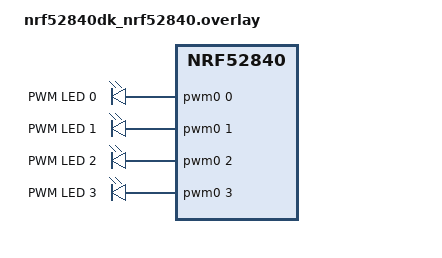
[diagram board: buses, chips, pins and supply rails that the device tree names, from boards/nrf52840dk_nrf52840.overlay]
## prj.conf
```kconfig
# Copyright (c) 2021 Nordic Semiconductor ASA
# SPDX-License-Identifier: Apache-2.0
#
# This file contains selected Kconfig options for the application.

CONFIG_GPIO=y
CONFIG_PWM=y
CONFIG_SMF=y

CONFIG_BT=y
CONFIG_BT_PERIPHERAL=y
CONFIG_BT_DEVICE_NAME="2012 EiE BLE Peripheral"
```

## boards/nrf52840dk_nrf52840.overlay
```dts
/ {
    pwmleds {
        compatible = "pwm-leds";
        pwm_led0: pwm_led_0 { pwms = <&pwm0 0 PWM_MSEC(20) PWM_POLARITY_NORMAL>; label = "PWM LED 0"; };
        pwm_led1: pwm_led_1 { pwms = <&pwm0 1 PWM_MSEC(20) PWM_POLARITY_NORMAL>; label = "PWM LED 1"; };
        pwm_led2: pwm_led_2 { pwms = <&pwm0 2 PWM_MSEC(20) PWM_POLARITY_NORMAL>; label = "PWM LED 2"; };
        pwm_led3: pwm_led_3 { pwms = <&pwm0 3 PWM_MSEC(20) PWM_POLARITY_NORMAL>; label = "PWM LED 3"; };
    };

    aliases {
    pwm-led0 = &pwm_led0;
    pwm-led1 = &pwm_led1;
    pwm-led2 = &pwm_led2;
    pwm-led3 = &pwm_led3;
    };

};

&pinctrl {
    pwm0_default: pwm0_default {
        group1 {
            psels =
                <NRF_PSEL(PWM_OUT0, 0, 4)>,
                <NRF_PSEL(PWM_OUT1, 0, 5)>,
                <NRF_PSEL(PWM_OUT2, 0, 6)>,
                <NRF_PSEL(PWM_OUT3, 0, 7)>;
            nordic,invert;
        };
    };

    pwm0_sleep: pwm0_sleep {
        group1 {
            psels =
                <NRF_PSEL(PWM_OUT0, 0, 4)>,
                <NRF_PSEL(PWM_OUT1, 0, 5)>,
                <NRF_PSEL(PWM_OUT2, 0, 6)>,
                <NRF_PSEL(PWM_OUT3, 0, 7)>;
            low-power-enable;
        };
    };
};
```

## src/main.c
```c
#include <zephyr/kernel.h>
#include <zephyr/device.h>
#include <zephyr/drivers/display.h>
#include <zephyr/sys/printk.h>
#include <lvgl.h>

int main(void)
{
    const struct device *display_dev = DEVICE_DT_GET(DT_CHOSEN(zephyr_display));
    if (!device_is_ready(display_dev)) {
        printk("display not ready\n");
        while (1) { k_msleep(1000); }
    }

    lv_obj_t *scr = lv_screen_active();
    lv_obj_set_style_bg_color(scr, lv_color_hex(0xFF0000), LV_PART_MAIN);

    lv_obj_t *label = lv_label_create(scr);
    lv_label_set_text(label, "EQ FORCE 777");
    lv_obj_set_style_text_color(label, lv_color_black(), LV_PART_MAIN);
    lv_obj_center(label);

    lv_timer_handler();              /* render one frame first */
    display_blanking_off(display_dev);

    while (1) {
        lv_timer_handler();
        k_msleep(10);
    }
}
```

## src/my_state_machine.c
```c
#include <zephyr/smf.h>

#include "LED.h"
#include "my_state_machine.h"
#include "BTN.h"

/* ---------- helpers ---------- */
static inline bool b0(void){ return BTN_check_clear_pressed(BTN0); }
static inline bool b1(void){ return BTN_check_clear_pressed(BTN1); }
static inline bool b2(void){ return BTN_check_clear_pressed(BTN2); }
static inline bool b3(void){ return BTN_check_clear_pressed(BTN3); }

/* ---------- ASCII CODE FUNCTIONS ---------- */
/* 
 * Adds a bit to the ASCII accumulator.
 * bit = 0 → BTN0
 * bit = 1 → BTN1
 * Gives LED feedback.
 */
 //Global Variables
static uint8_t ascii_code = 0;   // stores the 8-bit ASCII being built
static uint8_t bit_index = 0;    // how many bits have been entered (0–7)
#define MAX_STRING_LEN 32    // you can change this
static char ascii_string[MAX_STRING_LEN + 1];   // +1 for null terminator
static uint8_t ascii_string_len = 0;

 
static void ascii_add_bit(uint8_t bit)
{
    if (bit_index < 8) {

        // Shift left to make room
        ascii_code <<= 1;

        // Insert the bit
        ascii_code |= (bit & 0x01);

        bit_index++;

        /* ---- LED feedback ----- */
        if (bit == 0) {
            LED_set(LED0, LED_ON);
            LED_set(LED1, LED_OFF);
        } else {
            LED_set(LED1, LED_ON);
            LED_set(LED0, LED_OFF);
        }

    } else {
        // Already have 8 bits → blink both LEDs quickly
        LED_set(LED0, LED_ON);
        LED_set(LED1, LED_ON);
        // You can optionally ignore new bits or wrap, up to you
    }
}

static void ascii_clear(void)
{
    ascii_code = 0;
    bit_index  = 0;

    LED_set(LED0, LED_OFF);
    LED_set(LED1, LED_OFF);
}

static void ascii_save_code(void)
{
    // Only save if we actually have 8 bits
    if (bit_index == 8) {

        // Convert the 8-bit value into an ASCII character
        char c = (char)ascii_code;

        // Store character into buffer if space available
        if (ascii_string_len < MAX_STRING_LEN) {
            ascii_string[ascii_string_len++] = c;
            ascii_string[ascii_string_len]   = '\0';   // maintain null termination
        }

        // Clear out for next ASCII entry
        ascii_clear();
    }
    else {
        // Optional: blink LEDs to indicate "not complete"
        LED_set(LED0, LED_ON);
        LED_set(LED1, LED_ON);
        // You could also choose to ignore this case
    }
}

static void ascii_string_clear(void)
{
    ascii_string_len = 0;     // no characters stored
    ascii_string[0]  = '\0';  // empty string
}

/* ---- PWM breathing parameters ---- */
#define PULSE_STEP       2      // change per update (brightness smoothness)
#define PULSE_MAX        100    // full brightness (0–100%)
#define PULSE_MIN        0      // off brightness
#define PULSE_UPDATE_MS  10     // speed of pulsing (lower = faster)

/* ---- Breathing state ---- */
static uint8_t pulse_brightness = 0;
static bool pulse_rising = true;
static uint16_t pulse_count = 0;

/* ---- Call this frequently (every run cycle) ---- */
static void pulse_all_leds(void)
{
    // Delay between each brightness change
    if (++pulse_count < PULSE_UPDATE_MS) {
        return;
    }
    pulse_count = 0;

    // Increase or decrease brightness
    if (pulse_rising) {
        if (pulse_brightness < PULSE_MAX) {
            pulse_brightness += PULSE_STEP;
        } else {
            pulse_rising = false;   // reached max → start falling
        }
    } 
    else { // falling
        if (pulse_brightness > PULSE_MIN) {
            pulse_brightness -= PULSE_STEP;
        } else {
            pulse_rising = true;    // reached min → start rising
        }
    }

    // Apply brightness to all 4 LEDs
    LED_pwm(LED0, pulse_brightness);
    LED_pwm(LED1, pulse_brightness);
    LED_pwm(LED2, pulse_brightness);
    LED_pwm(LED3, pulse_brightness);
}

/* ---------- timing ---------- */
#define TOGGLE4_MS    125   // 4 cycles/sec -> toggle every 125 ms
#define TOGGLE16_MS    31   // ~16 cycles/sec -> toggle every ~31 ms
#define TOGGLE1_MS     500 // 1 cycle/sec

/* ---------- prototypes ---------- */

static void state0_entry(void *o);
static enum smf_state_result state0_run (void *o);
static void state0_exit(void *o);

static void state1_entry(void *o);
static enum smf_state_result state1_run (void *o);
static void state1_exit(void *o);

static void state2_entry(void *o);
static enum smf_state_result state2_run (void *o);
static void state2_exit(void *o);

static void state3_entry(void *o);
static enum smf_state_result state3_run (void *o);
static void state3_exit(void *o);

/* ---------- types ---------- */
enum led_state_machine_states{ 
    State_0,        // LED3 blink @ 1 Hz
    State_1,        // LED3 blink @ 4HZ
    State_2,        // LED3 blink @ 16HZ
    State_3         // LEDS Pulse
};

typedef struct {
    struct smf_ctx ctx;  // must be first
    uint16_t count;      // ms-ish counter used per state
    bool phase;          // general toggle phase
    uint8_t previous_state;   // NEW: remember where standby should return
} led_state_object_t;


/* ---------- state table ---------- */
static const struct smf_state led_states[] = {
    [State_0]       = SMF_CREATE_STATE(state0_entry,        state0_run,        state0_exit,        NULL, NULL),
    [State_1]       = SMF_CREATE_STATE(state1_entry,        state1_run,        state1_exit,        NULL, NULL),
    [State_2]       = SMF_CREATE_STATE(state2_entry,        state2_run,        state2_exit,        NULL, NULL),
    [State_3]       = SMF_CREATE_STATE(state3_entry,        state3_run,        state3_exit,        NULL, NULL)
}; 

static led_state_object_t led_state_object; 

/* ---------- API ---------- */
void state_machine_init(){
    led_state_object.count = 0; 
    led_state_object.phase = false;
    smf_set_initial(SMF_CTX(&led_state_object), &led_states[State_0]);
}
int state_machine_run(){
    return smf_run_state(SMF_CTX(&led_state_object));
}


/* ================= State_0: ================= */
static void state0_entry(void* o)
{
    led_state_object_t *s = o;
    s->count = 0;
    s->phase = false;

    LED_set(LED0, LED_OFF);   // LED1
    LED_set(LED2, LED_OFF);   // LED3
    LED_set(LED1, LED_OFF);  // LED2
    LED_set(LED3, LED_OFF);  // LED4
    
     ascii_clear();
    
}
static enum smf_state_result state0_run(void *o){ // S0 behavior
     led_state_object_t *s = o;

    if (b0()&&b1()){
        led_state_object.previous_state = State_0;
	    smf_set_state(SMF_CTX(s), &led_states[State_3]);
        printk("Blinking standby mode.");
        return SMF_EVENT_HANDLED;
    }

    // BTN0 → add a 0 bit
    if (b0()) {
		    printk("Input as 0.\n");
        ascii_add_bit(0);
    }

    // BTN1 → add a 1 bit
    if (b1()) {
		    printk("Input as 1.\n");
        ascii_add_bit(1);
    }

    // BTN2 → clear current ASCII, stay in State_0
    if (b2()) {
        ascii_clear();
        printk("Cleared the ASCII code you made.\n");
        return SMF_EVENT_HANDLED;
    }

    // BTN3 → finished ASCII, go to State_1
    if (b3()) {
		    ascii_save_code();
		    printk("Saved char: %c   Full buffer: %s\n", ascii_string[ascii_string_len-1], ascii_string);
        smf_set_state(SMF_CTX(s), &led_states[State_1]);
        return SMF_EVENT_HANDLED;
    }
    
    // Blink LED3 (or LED2 depending on mapping) at 1 Hz
    if (++s->count >= TOGGLE1_MS) {
        s->count = 0;
        s->phase = !s->phase;
        LED_set(LED2, s->phase ? LED_ON : LED_OFF);
    }

    return SMF_EVENT_HANDLED;
}

static void state0_exit(void *o)
{
    (void)o;
    /* no teardown required */
}

/* ================= State_1: ================= */
static void state1_entry(void* o)
{
    led_state_object_t *s = o;
    s->count = 0;
    s->phase = false;

    LED_set(LED0, LED_OFF);   // LED1
    LED_set(LED2, LED_OFF);   // LED3
    LED_set(LED1, LED_OFF);  // LED2
    LED_set(LED3, LED_OFF);  // LED4
        
}

static enum smf_state_result state1_run(void *o){ // S1 behavior
   led_state_object_t *s = o;
     
   if (b2()) {
        ascii_clear();
        ascii_string_clear();
        printk("You have chosen to clear your entire string.\n");
        smf_set_state(SMF_CTX(s), &led_states[State_0]);
        return SMF_EVENT_HANDLED;
    }
    
    if (b0()&&b1()){
        led_state_object.previous_state = State_1;
	    smf_set_state(SMF_CTX(s), &led_states[State_3]);
        printk("Blinking standby mode.");
        return SMF_EVENT_HANDLED;
    }
        // BTN0 → add a 0 bit
    if (b0()) {
		    printk("Input as 0.\n");
        ascii_add_bit(0);
    }

    // BTN1 → add a 1 bit
    if (b1()) {
		    printk("Input as 1.\n");
        ascii_add_bit(1);
    }
    
    // BTN3 → finished ASCII, go to State_2
    if (b3()) {
		    ascii_save_code();
		    printk("Saved char: %c   Full buffer: %s\n", ascii_string[ascii_string_len-1], ascii_string);
        smf_set_state(SMF_CTX(s), &led_states[State_2]);
        return SMF_EVENT_HANDLED;
    }
    
     if (++s->count >= TOGGLE4_MS) {
      s->count = 0;
      s->phase = !s->phase;
      LED_set(LED2, s->phase ? LED_ON : LED_OFF);
    }
      return SMF_EVENT_HANDLED;
 }
 
 static void state1_exit(void *o)
{
    (void)o;
    /* no teardown required */
}

/* ================= State_2: ================= */
static void state2_entry(void* o)
{
    led_state_object_t *s = o;
    s->count = 0;
    s->phase = false;

    LED_set(LED0, LED_OFF);   // LED1
    LED_set(LED2, LED_OFF);   // LED3
    LED_set(LED1, LED_OFF);  // LED2
    LED_set(LED3, LED_OFF);  // LED4
        
}

static enum smf_state_result state2_run(void *o){ // S2 behavior

	led_state_object_t *s = o;

	if (b0()&&b1()){
        led_state_object.previous_state = State_2;
	    smf_set_state(SMF_CTX(s), &led_states[State_3]);
        printk("Blinking standby mode.");
        return SMF_EVENT_HANDLED;
    }
   
    if (b2()) {
        ascii_clear();
        ascii_string_clear();
        printk("You have chosen to clear your entire string.\n");
        smf_set_state(SMF_CTX(s), &led_states[State_0]);
        return SMF_EVENT_HANDLED;
    }

    if (b3()) {
    printk("Final string: %s\n", ascii_string);
    // stay in State_2 or go back to State_0 depending on how they expect it
    // For example:
    smf_set_state(SMF_CTX(s), &led_states[State_0]);
    return SMF_EVENT_HANDLED;
    }

    if (++s->count >= TOGGLE16_MS) {
        s->count = 0;
        s->phase = !s->phase;
        LED_set(LED2, s->phase ? LED_ON : LED_OFF);
    }

    return SMF_EVENT_HANDLED;
  
	
}

 static void state2_exit(void *o)
{
    (void)o;
    /* no teardown required */
}

/* ================= State_3: ================= */
static void state3_entry(void* o)
{
    led_state_object_t *s = o;
    s->count = 0;
    s->phase = false;

    LED_set(LED0, LED_OFF);   // LED1
    LED_set(LED2, LED_OFF);   // LED3
    LED_set(LED1, LED_OFF);  // LED2
    LED_set(LED3, LED_OFF);  // LED4
        
}

static enum smf_state_result state3_run(void *o){ // S3 behavior

	//led_state_object_t *s = o;
    // If any button clicked → exit standby and return to previous state
    if (b0() || b1() || b2() || b3()) {
        smf_set_state(SMF_CTX(o), &led_states[led_state_object.previous_state]);
        return SMF_EVENT_HANDLED;
    }

    // Pulse all LEDs
    pulse_all_leds();

    return SMF_EVENT_HANDLED;
}

static void state3_exit(void *o)
{
    (void)o;
    /* no teardown required */
}
```

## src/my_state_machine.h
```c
/**
 * @file my_state_machine.h
 */

#ifndef MY_STATE_MACHINE_H
#define MY_STATE_MACHINE_H

void state_machine_init();
int state_machine_run();

#endif //MY_STATE_MACHINE_H
```
